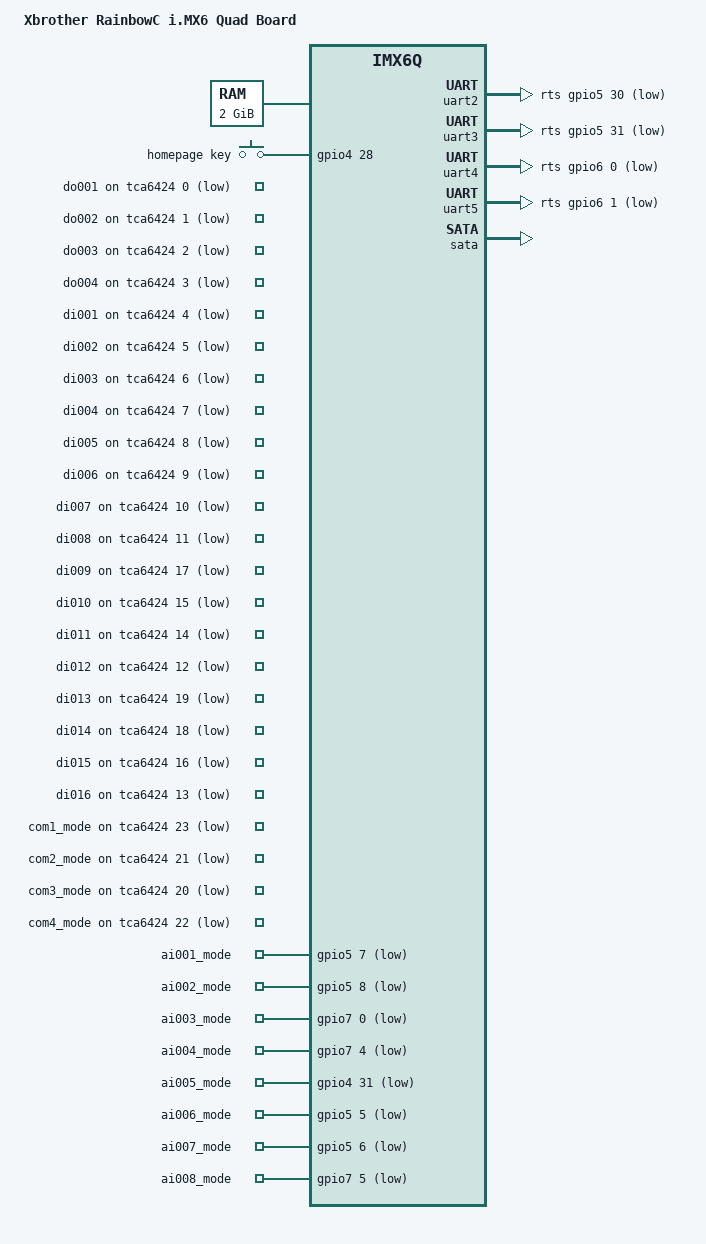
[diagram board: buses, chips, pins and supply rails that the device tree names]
// SPDX-License-Identifier: GPL-2.0-only
/*
 * Copyright 2020 Xbrother, Inc.
 *
 * Author: Feynman Lee <codingmonkey83@gmail.com>
 */
/dts-v1/;
#include "imx6q.dtsi"
#include "imx6qdl-rbc-phx2.dtsi"

/ {
	model = "Xbrother RainbowC i.MX6 Quad Board";
	compatible = "rex,imx6q-rbc", "fsl,imx6q";

	memory@10000000 {
		device_type = "memory";
		reg = <0x10000000 0x80000000>;
	};

	gpio-keys {
		compatible = "gpio-keys";
		homepage-key {
			gpios = <&gpio4 28 GPIO_ACTIVE_HIGH>;
			linux,code = <KEY_MENU>;
			label = "homepage key";
			debounce-interval = <10>;
		};
	};

	gpio-xbrother{
		compatible = "gpio-export";
		#size-cells = <0>;
		sys_name = "unicom_su";
		do1 {
			gpio-export,name = "do001";
			gpios = <&tca6424 0 GPIO_ACTIVE_LOW>;
			gpio-export,output = <0>;
		};
		do2 {
			gpio-export,name = "do002";
			gpios = <&tca6424 1 GPIO_ACTIVE_LOW>;
			gpio-export,output = <0>;
		};
		do3 {
			gpio-export,name = "do003";
			gpios = <&tca6424 2 GPIO_ACTIVE_LOW>;
			gpio-export,output = <0>;
		};
		do4 {
			gpio-export,name = "do004";
			gpios = <&tca6424 3 GPIO_ACTIVE_LOW>;
			gpio-export,output = <0>;
		};
		di01 {
			gpio-export,name = "di001";
			gpios = <&tca6424 4 GPIO_ACTIVE_LOW>;
		};
		di02 {
			gpio-export,name = "di002";
			gpios = <&tca6424 5 GPIO_ACTIVE_LOW>;
		};
		di03 {
			gpio-export,name = "di003";
			gpios = <&tca6424 6 GPIO_ACTIVE_LOW>;
		};
		di04 {
			gpio-export,name = "di004";
			gpios = <&tca6424 7 GPIO_ACTIVE_LOW>;
		};
		di05 {
			gpio-export,name = "di005";
			gpios = <&tca6424 8 GPIO_ACTIVE_LOW>;
		};
		di06 {
			gpio-export,name = "di006";
			gpios = <&tca6424 9 GPIO_ACTIVE_LOW>;
		};
		di07 {
			gpio-export,name = "di007";
			gpios = <&tca6424 10 GPIO_ACTIVE_LOW>;
		};
		di08 {
			gpio-export,name = "di008";
			gpios = <&tca6424 11 GPIO_ACTIVE_LOW>;
		};
		di09 {
			gpio-export,name = "di009";
			gpios = <&tca6424 17 GPIO_ACTIVE_LOW>;
		};
		di10 {
			gpio-export,name = "di010";
			gpios = <&tca6424 15 GPIO_ACTIVE_LOW>;
		};
		di11 {
			gpio-export,name = "di011";
			gpios = <&tca6424 14 GPIO_ACTIVE_LOW>;
		};
		di12 {
			gpio-export,name = "di012";
			gpios = <&tca6424 12 GPIO_ACTIVE_LOW>;
		};
		di13 {
			gpio-export,name = "di013";
			gpios = <&tca6424 19 GPIO_ACTIVE_LOW>;
		};
		di14 {
			gpio-export,name = "di014";
			gpios = <&tca6424 18 GPIO_ACTIVE_LOW>;
		};
		di15 {
			gpio-export,name = "di015";
			gpios = <&tca6424 16 GPIO_ACTIVE_LOW>;
		};
		di16 {
			gpio-export,name = "di016";
			gpios = <&tca6424 13 GPIO_ACTIVE_LOW>;
		};
		com1_mode {
			gpio-export,name = "com1_mode";
			gpios = <&tca6424 23 GPIO_ACTIVE_LOW>;
			gpio-export,output = <0>;
		};
		com2_mode {
			gpio-export,name = "com2_mode";
			gpios = <&tca6424 21 GPIO_ACTIVE_LOW>;
			gpio-export,output = <0>;
		};
		com3_mode {
			gpio-export,name = "com3_mode";
			gpios = <&tca6424 20 GPIO_ACTIVE_LOW>;
			gpio-export,output = <0>;
		};
		com4_mode {
			gpio-export,name = "com4_mode";
			gpios = <&tca6424 22 GPIO_ACTIVE_LOW>;
			gpio-export,output = <0>;
		};

		ai01_mode {
			gpio-export,name = "ai001_mode";
			gpios = <&gpio5 7 GPIO_ACTIVE_LOW>;
			gpio-export,output = <1>;
		};
		ai02_mode {
			gpio-export,name = "ai002_mode";
			gpios = <&gpio5 8 GPIO_ACTIVE_LOW>;
			gpio-export,output = <1>;
		};
		ai03_mode {
			gpio-export,name = "ai003_mode";
			gpios = <&gpio7 0 GPIO_ACTIVE_LOW>;
			gpio-export,output = <1>;
		};
		ai04_mode {
			gpio-export,name = "ai004_mode";
			gpios = <&gpio7 4 GPIO_ACTIVE_LOW>;
			gpio-export,output = <1>;
		};
		ai05_mode {
			gpio-export,name = "ai005_mode";
			gpios = <&gpio4 31 GPIO_ACTIVE_LOW>;
			gpio-export,output = <1>;
		};
		ai06_mode {
			gpio-export,name = "ai006_mode";
			gpios = <&gpio5 5 GPIO_ACTIVE_LOW>;
			gpio-export,output = <1>;
		};
		ai07_mode {
			gpio-export,name = "ai007_mode";
			gpios = <&gpio5 6 GPIO_ACTIVE_LOW>;
			gpio-export,output = <1>;
		};
		ai08_mode {
			gpio-export,name = "ai008_mode";
			gpios = <&gpio7 5 GPIO_ACTIVE_LOW>;
			gpio-export,output = <1>;
		};

		ai01 {
			gpio-export,name = "ai001";
			ai-path = "/sys/bus/iio/devices/iio:device0/in_voltage0_raw";
		};
		ai02 {
			gpio-export,name = "ai002";
			ai-path = "/sys/bus/iio/devices/iio:device0/in_voltage1_raw";
		};
		ai03 {
			gpio-export,name = "ai003";
			ai-path = "/sys/bus/iio/devices/iio:device0/in_voltage2_raw";
		};
		ai04 {
			gpio-export,name = "ai004";
			ai-path = "/sys/bus/iio/devices/iio:device0/in_voltage3_raw";
		};
		ai05 {
			gpio-export,name = "ai005";
			ai-path = "/sys/bus/iio/devices/iio:device0/in_voltage4_raw";
		};
		ai06 {
			gpio-export,name = "ai006";
			ai-path = "/sys/bus/iio/devices/iio:device0/in_voltage5_raw";
		};
		ai07 {
			gpio-export,name = "ai007";
			ai-path = "/sys/bus/iio/devices/iio:device0/in_voltage6_raw";
		};
		ai08 {
			gpio-export,name = "ai008";
			ai-path = "/sys/bus/iio/devices/iio:device0/in_voltage7_raw";
		};
	};
};

	&uart2 {
		pinctrl-0 = <&pinctrl_uart2 &pinctrl_uart2_rts>;
		rts-gpios = <&gpio5 30 GPIO_ACTIVE_LOW>;
    	linux,rs485-enabled-at-boot-time;
	};

	&uart3 {
		pinctrl-0 = <&pinctrl_uart3 &pinctrl_uart3_rts>;
		rts-gpios = <&gpio5 31 GPIO_ACTIVE_LOW>;
		linux,rs485-enabled-at-boot-time;
	};

	&uart4 {
		pinctrl-0 = <&pinctrl_uart4 &pinctrl_uart4_rts>;
		rts-gpios = <&gpio6 0 GPIO_ACTIVE_LOW>;
		linux,rs485-enabled-at-boot-time;
	};

	&uart5 {
		pinctrl-0 = <&pinctrl_uart5 &pinctrl_uart5_rts>;
		rts-gpios = <&gpio6 1 GPIO_ACTIVE_LOW>;
		linux,rs485-enabled-at-boot-time;
	};

	&sata{
		status = "okay";
	};

	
